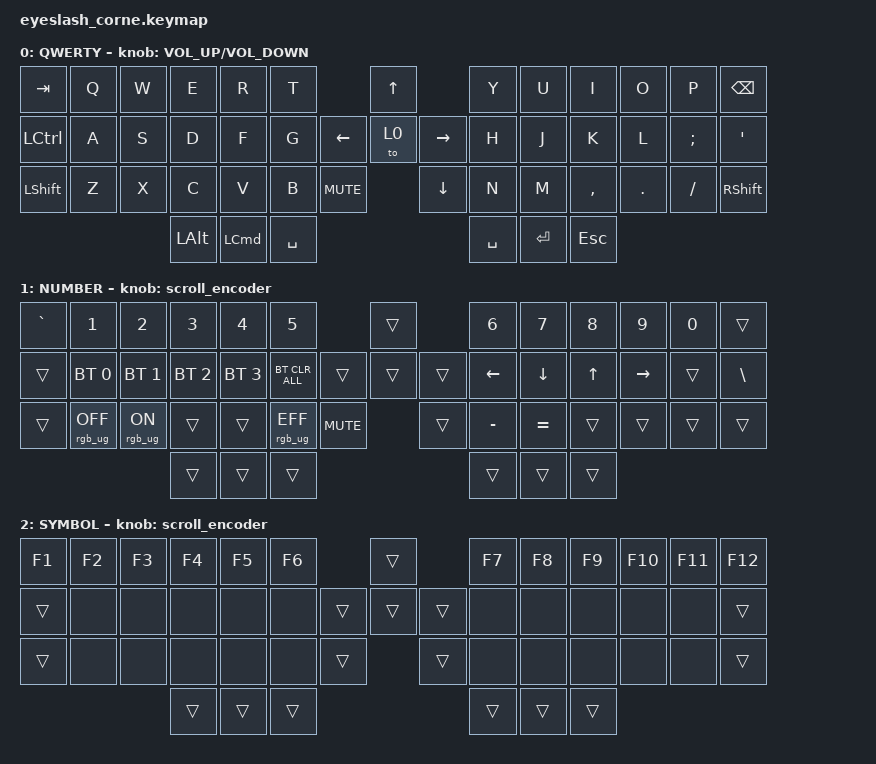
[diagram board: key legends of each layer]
#define ZMK_POINTING_DEFAULT_MOVE_VAL 1200  // 600
#define ZMK_POINTING_DEFAULT_SCRL_VAL 25   // 10

#include <input/processors.dtsi>
#include <zephyr/dt-bindings/input/input-event-codes.h>
#include <behaviors.dtsi>
#include <dt-bindings/zmk/bt.h>
#include <dt-bindings/zmk/keys.h>
#include <dt-bindings/zmk/pointing.h>
#include <dt-bindings/zmk/rgb.h>

&mmv_input_listener { input-processors = <&zip_xy_scaler 2 1>; };

&msc_input_listener { input-processors = <&zip_scroll_scaler 2 1>; };

&msc {
    acceleration-exponent = <1>;      // 0
    time-to-max-speed-ms = <100>;       // 300
    delay-ms = <0>;                   // 0
};

&mmv {
    time-to-max-speed-ms = <500>;
    acceleration-exponent = <1>;
    trigger-period-ms = <16>;
};

/ {
    behaviors {
        td0: td0 {
            compatible = "zmk,behavior-tap-dance";
            display-name = "Shift/Caps Lock Tap Dance";
            #binding-cells = <0>;
            bindings = <&kp LEFT_SHIFT>, <&kp CAPS>;
        };
    };

    rgb_encoder: rgb_encoder {
        compatible = "zmk,behavior-sensor-rotate";
        #sensor-binding-cells = <0>;
        bindings = <&rgb_ug RGB_BRI>, <&rgb_ug RGB_BRD>;
    };

    scroll_encoder: scroll_encoder {
        compatible = "zmk,behavior-sensor-rotate";
        #sensor-binding-cells = <0>;
        bindings = <&msc SCRL_DOWN>, <&msc SCRL_UP>;

        tap-ms = <100>;
    };

    combos {
        compatible = "zmk,combos";

        left_parenthesis {
            bindings = <&kp LEFT_PARENTHESIS>;
            key-positions = <4 5>;
        };

        left_brace {
            bindings = <&kp LEFT_BRACE>;
            key-positions = <17 18>;
        };

        left_bracket {
            bindings = <&kp LEFT_BRACKET>;
            key-positions = <32 33>;
        };

        right_parenthesis {
            bindings = <&kp RIGHT_PARENTHESIS>;
            key-positions = <7 8>;
        };

        right_brace {
            bindings = <&kp RIGHT_BRACE>;
            key-positions = <22 23>;
        };

        right_bracket {
            bindings = <&kp RIGHT_BRACKET>;
            key-positions = <36 37>;
        };

        one {
            bindings = <&kp NUMBER_1>;
            key-positions = <1 14>;
        };

        two {
            bindings = <&kp NUMBER_2>;
            key-positions = <2 15>;
        };

        three {
            bindings = <&kp NUMBER_3>;
            key-positions = <3 16>;
        };

        four {
            bindings = <&kp NUMBER_4>;
            key-positions = <4 17>;
        };

        five {
            bindings = <&kp NUMBER_5>;
            key-positions = <5 18>;
        };

        six {
            bindings = <&kp NUMBER_6>;
            key-positions = <7 22>;
        };

        seven {
            bindings = <&kp NUMBER_7>;
            key-positions = <8 23>;
        };

        eight {
            bindings = <&kp NUMBER_8>;
            key-positions = <9 24>;
        };

        nine {
            bindings = <&kp NUMBER_9>;
            key-positions = <10 25>;
        };

        zero {
            bindings = <&kp NUMBER_0>;
            key-positions = <11 26>;
        };

        grave {
            bindings = <&kp GRAVE>;
            key-positions = <0 1>;
        };

        minus {
            bindings = <&kp MINUS>;
            key-positions = <37 38>;
        };

        equal {
            bindings = <&kp EQUAL>;
            key-positions = <38 39>;
        };

        bt_sel0 {
            bindings = <&bt BT_SEL 0>;
            key-positions = <0 13 28>;
        };

        bt_sel1 {
            bindings = <&bt BT_SEL 1>;
            key-positions = <1 14 29>;
        };

        bt_sel2 {
            bindings = <&bt BT_SEL 2>;
            key-positions = <2 15 30>;
        };

        bt_sel3 {
            bindings = <&bt BT_SEL 3>;
            key-positions = <3 16 31>;
        };

        bt_sel4 {
            bindings = <&bt BT_SEL 4>;
            key-positions = <4 17 32>;
        };

        bt_clear {
            bindings = <&bt BT_CLR_ALL>;
            key-positions = <5 18 33>;
        };

        backslash {
            bindings = <&kp BACKSLASH>;
            key-positions = <26 27>;
        };

        f1 {
            bindings = <&kp F1>;
            key-positions = <20 0 13>;
        };

        f2 {
            bindings = <&kp F2>;
            key-positions = <20 1 14>;
        };

        f3 {
            bindings = <&kp F3>;
            key-positions = <20 2 15>;
        };

        f4 {
            bindings = <&kp F4>;
            key-positions = <20 3 16>;
        };

        f5 {
            bindings = <&kp F5>;
            key-positions = <20 4 17>;
        };

        f6 {
            bindings = <&kp F6>;
            key-positions = <5 18 20>;
        };

        f7 {
            bindings = <&kp F7>;
            key-positions = <20 7 22>;
        };

        f8 {
            bindings = <&kp F8>;
            key-positions = <20 8 23>;
        };

        f9 {
            bindings = <&kp F9>;
            key-positions = <20 9 24>;
        };

        f10 {
            bindings = <&kp F10>;
            key-positions = <20 10 25>;
        };

        f11 {
            bindings = <&kp F11>;
            key-positions = <20 11 26>;
        };

        f12 {
            bindings = <&kp F12>;
            key-positions = <20 12 27>;
        };
    };

    keymap {
        compatible = "zmk,keymap";

        default_layer {
            display-name = "QWERTY";
            bindings = <
&kp TAB           &kp Q  &kp W  &kp E         &kp R             &kp T                                    &kp UP_ARROW                     &kp Y      &kp U      &kp I       &kp O    &kp P     &kp BSPC
&kp LEFT_CONTROL  &kp A  &kp S  &kp D         &kp F             &kp G                    &kp LEFT_ARROW  &to 0           &kp RIGHT_ARROW  &kp H      &kp J      &kp K       &kp L    &kp SEMI  &kp SQT
&kp LEFT_SHIFT    &kp Z  &kp X  &kp C         &kp V             &kp B      &kp C_MUTE                    &kp DOWN_ARROW                   &kp N      &kp M      &kp COMMA   &kp DOT  &kp FSLH  &kp RIGHT_SHIFT
                                &kp LEFT_ALT  &kp LEFT_COMMAND  &kp SPACE                                                                 &kp SPACE  &kp ENTER  &kp ESCAPE
            >;

            sensor-bindings = <&inc_dec_kp C_VOLUME_UP C_VOLUME_DOWN>;
        };

        lower_layer {
            display-name = "NUMBER";
            bindings = <
&kp GRAVE  &kp N1           &kp N2          &kp N3        &kp N4        &kp N5                                 &trans          &kp N6     &kp N7     &kp N8  &kp N9     &kp N0  &trans
&trans     &bt BT_SEL 0     &bt BT_SEL 1    &bt BT_SEL 2  &bt BT_SEL 3  &bt BT_CLR_ALL                 &trans  &trans  &trans  &kp LEFT   &kp DOWN   &kp UP  &kp RIGHT  &trans  &kp BACKSLASH
&trans     &rgb_ug RGB_OFF  &rgb_ug RGB_ON  &trans        &trans        &rgb_ug RGB_EFF  &kp C_MUTE            &trans          &kp MINUS  &kp EQUAL  &trans  &trans     &trans  &trans
                                            &trans        &trans        &trans                                                 &trans     &trans     &trans
            >;

            sensor-bindings = <&scroll_encoder>;
        };

        raise_layer {
            display-name = "SYMBOL";
            bindings = <
&kp F1  &kp F2  &kp F3  &kp F4  &kp F5  &kp F6                    &trans          &kp F7  &kp F8  &kp F9  &kp F10  &kp F11  &kp F12
&trans  &none   &none   &none   &none   &none             &trans  &trans  &trans  &none   &none   &none   &none    &none    &trans
&trans  &none   &none   &none   &none   &none   &trans            &trans          &none   &none   &none   &none    &none    &trans
                        &trans  &trans  &trans                                    &trans  &trans  &trans
            >;

            sensor-bindings = <&scroll_encoder>;
        };
    };
};
